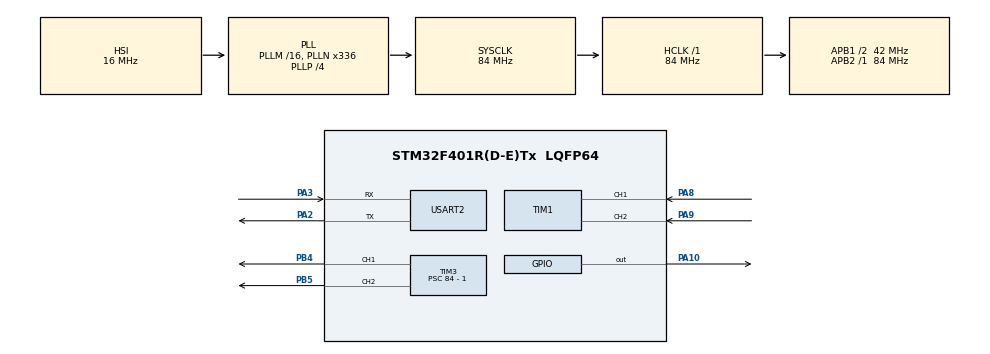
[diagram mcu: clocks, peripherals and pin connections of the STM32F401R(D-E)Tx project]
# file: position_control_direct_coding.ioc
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Mcu.Family=STM32F4
Mcu.Name=STM32F401R(D-E)Tx
Mcu.Package=LQFP64
NVIC.PriorityGroup=NVIC_PRIORITYGROUP_4
NVIC.TIM4_IRQn=true\:0\:0\:false\:false\:true\:true\:true\:true
PA10.Signal=GPIO_Output
PA2.Mode=Asynchronous
PA2.Signal=USART2_TX
PA3.Mode=Asynchronous
PA3.Signal=USART2_RX
PA8.Signal=S_TIM1_CH1
PA9.Signal=S_TIM1_CH2
PB4.Signal=S_TIM3_CH1
PB5.Signal=S_TIM3_CH2
ProjectManager.HeapSize=0x200
ProjectManager.StackSize=0x400
ProjectManager.TargetToolchain=STM32CubeIDE
RCC.48MHZClocksFreq_Value=84000000
RCC.AHBFreq_Value=84000000
RCC.APB1CLKDivider=RCC_HCLK_DIV2
RCC.APB1Freq_Value=42000000
RCC.APB1TimFreq_Value=84000000
RCC.APB2Freq_Value=84000000
RCC.APB2TimFreq_Value=84000000
RCC.CortexFreq_Value=84000000
RCC.HCLKFreq_Value=84000000
RCC.HSE_VALUE=25000000
RCC.HSI_VALUE=16000000
RCC.LSE_VALUE=32768
RCC.PLLN=336
RCC.PLLP=RCC_PLLP_DIV4
RCC.SYSCLKFreq_VALUE=84000000
RCC.SYSCLKSource=RCC_SYSCLKSOURCE_PLLCLK
RCC.VCOOutputFreq_Value=336000000
SH.S_TIM1_CH1.0=TIM1_CH1,Encoder_Interface
SH.S_TIM1_CH2.0=TIM1_CH2,Encoder_Interface
SH.S_TIM3_CH1.0=TIM3_CH1,PWM Generation1 CH1
SH.S_TIM3_CH2.0=TIM3_CH2,PWM Generation2 CH2
TIM1.EncoderMode=TIM_ENCODERMODE_TI12
TIM3.AutoReloadPreload=TIM_AUTORELOAD_PRELOAD_ENABLE
TIM3.Channel-PWM\ Generation1\ CH1=TIM_CHANNEL_1
TIM3.Channel-PWM\ Generation2\ CH2=TIM_CHANNEL_2
TIM3.Period=500 - 1
TIM3.Prescaler=84 - 1
TIM4.Period=5000 - 1
TIM4.Prescaler=84 - 1
USART2.VirtualMode=VM_ASYNC
VP_TIM3_VS_ClockSourceINT.Mode=Internal
VP_TIM4_VS_ClockSourceINT.Mode=Internal
board=custom

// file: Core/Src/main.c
/* USER CODE BEGIN Header */
/**
 ******************************************************************************
 * @file           : main.c
 * @brief          : Main program body
 ******************************************************************************
 * @attention
 *
 * <h2><center>&copy; Copyright (c) 2021 STMicroelectronics.
 * All rights reserved.</center></h2>
 *
 * This software component is licensed by ST under BSD 3-Clause license,
 * the "License"; You may not use this file except in compliance with the
 * License. You may obtain a copy of the License at:
 *                        opensource.org/licenses/BSD-3-Clause
 *
 ******************************************************************************
 */
/* USER CODE END Header */
#include "main.h"

/* USER CODE BEGIN Includes */
#include "stdio.h"
#include "stdlib.h"
#include "stdbool.h"
#include "math.h"
#include "string.h"
#include  <errno.h>
#include  <sys/unistd.h> // STDOUT_FILENO, STDERR_FILENO
/* USER CODE END Includes */

/* USER CODE BEGIN PD */
#define WAITING 3 // the number of seconds to wait from one reference change to the next. It also coincides with the number of seconds between one USART send and the next
/* USER CODE END PD */

TIM_HandleTypeDef htim1;
TIM_HandleTypeDef htim3;
TIM_HandleTypeDef htim4;

UART_HandleTypeDef huart2;

void SystemClock_Config(void);
static void MX_GPIO_Init(void);
static void MX_USART2_UART_Init(void);
static void MX_TIM3_Init(void);
static void MX_TIM1_Init(void);
static void MX_TIM4_Init(void);

/* USER CODE BEGIN 0 */
/* BEGIN CIRCULAR DATA BUFFER */
typedef struct circular_buffer {
	void *buffer;     // data buffer
	void *buffer_end; // end of data buffer
	size_t capacity;  // maximum number of items in the buffer
	size_t count;     // number of items in the buffer
	size_t sz;        // size of each item in the buffer
	void *head;       // pointer to head
	void *tail;       // pointer to tail
	bool writing;  // signals if the buffer is being written
} circular_buffer;

void cb_init(circular_buffer *cb, size_t capacity, size_t sz) {
	cb->buffer = calloc(capacity, sz);
	if (cb->buffer == NULL)
		printf("ALLOCATED NULL\n\r");
	// handle error
	cb->buffer_end = (char*) cb->buffer + capacity * sz;
	cb->capacity = capacity;
	cb->count = 0;
	cb->sz = sz;
	cb->head = cb->buffer;
	cb->tail = cb->buffer;
	cb->writing = false;

}

void cb_free(circular_buffer *cb) {
	free(cb->buffer);
	// clear out other fields too, just to be safe
}

void cb_push_back(circular_buffer *cb, const void *item) {
	if (cb->count == cb->capacity) {
		printf("ERROR PUSH BACK \n\r");
		// handle error
	}
	cb->writing = true;
	memmove(cb->head, item, cb->sz);
	cb->head = (char*) cb->head + cb->sz;
	if (cb->head == cb->buffer_end)
		cb->head = cb->buffer;
	cb->count++;
	cb->writing = false;
}

void cb_pop_front(circular_buffer *cb, void *item) {
	if (cb->count == 0) {
		printf("ERROR PUSH BACK \n\r");
		// handle error
	}
	memmove(item, cb->tail, cb->sz);
	cb->tail = (char*) cb->tail + cb->sz;
	if (cb->tail == cb->buffer_end)
		cb->tail = cb->buffer;
	while ((cb->writing))
		;
	cb->count--;
}

circular_buffer myBuff;

/* BEGIN RECORD TYPEDEF*/
typedef struct record {
	double current_pos;
	double current_u; // value of the current controller output
	double current_vel; // value of the current motor output (speed)
	double current_error;
	double current_ref;
	uint32_t cycleCoreDuration; // time needed to read, compute and actuate
	uint32_t cycleBeginDelay; // difference between the actual and the expected absolute start time of the cycle
	uint32_t currentTimestamp; // current timestamp in millis
} record;

/* BEGIN USART WRITE FUNCTION (used by printf)*/
int _write(int file, char *data, int len) {
	if ((file != STDOUT_FILENO) && (file != STDERR_FILENO)) {
		errno = EBADF;
		return -1;
	}

	// arbitrary timeout 1000
	HAL_StatusTypeDef status = HAL_UART_Transmit(&huart2, (uint8_t*) data, len,
			1000);

	// return # of bytes written - as best we can tell
	return (status == HAL_OK ? len : 0);
}

void setPulseFromDutyValue(double dutyVal) {
	HAL_GPIO_WritePin(GPIOA, GPIO_PIN_10, GPIO_PIN_SET); // enable the motor driver

	uint16_t channelToModulate;
	uint16_t channelToStop;

	if (dutyVal > 0) {
		channelToModulate = TIM_CHANNEL_1;
		channelToStop = TIM_CHANNEL_2;
	} else {
		channelToModulate = TIM_CHANNEL_2;
		channelToStop = TIM_CHANNEL_1;
	}

	__HAL_TIM_SET_COMPARE(&htim3, channelToStop, 0);
	__HAL_TIM_SET_COMPARE(&htim3, channelToModulate,
			(abs(dutyVal) * ((double )htim3.Init.Period)) / 100); //cast integer value to double to correctly perform division between decimal numbers
}

double getSpeedByDelta(double ticksDelta, double Ts) {
	return ticksDelta * 60 / (8400 * Ts);
}

double getTicksDelta(double currentTicks, double lastTicks, double Ts) {
	double delta;

	if (abs(currentTicks - lastTicks) <= ceil(12600 * Ts))
		delta = currentTicks - lastTicks;
	else {
		if (lastTicks > currentTicks)
			delta = currentTicks + pow(2, 16) - 1 - lastTicks;
		else
			delta = currentTicks - pow(2, 16) + 1 - lastTicks;
	}
	return delta;
}

int sign(double x) {

    if (x > 0) {
        return 1;
    } else if (x < 0) {
        return -1;
    } else {
        return 0;
    }

}

double getPosition(double delta, double *ticks_star){

	double ticks_star_old = *ticks_star;
	*ticks_star = ticks_star_old + delta;
	double completeTheta = 2*M_PI*(*ticks_star)/(8400);
	double position = completeTheta;

	return position;

}

double getErrorPos(double currentError) {

    double error = currentError;

    if (currentError > M_PI) {
        error = currentError - 2 * M_PI;
    } else if (currentError < -M_PI) {
        error = currentError + 2 * M_PI;
    }

    return error;

}

double getRef(double y, double real_ref){

	double real_ref_mod = fmod(real_ref,2*M_PI);
	double y_mod = fmod(y, 2*M_PI);

	double fixed_part = trunc((y-0.02) / (2 * M_PI)) *2*M_PI;

	double a = real_ref + 2*M_PI;
	double b = y_mod + 2* M_PI;

	double c, ab, bc, sign_part, r;

	if (real_ref_mod > 0)
		c = -(2*M_PI - real_ref_mod) + 2*M_PI;
	else
		c = 2*M_PI + real_ref_mod + 2*M_PI;

	if (a > b)
		ab = fabs(a-b);
	else
		ab = fabs(b-a);

	if (c > b)
		bc = fabs(c-b);
	else
		bc = fabs(b-c);

	if (ab > bc)
		if (real_ref_mod >= 0)
			sign_part = - (2*M_PI - real_ref_mod);
		else
			sign_part = 2*M_PI + real_ref_mod;
	else
		sign_part = real_ref_mod;

	r = fixed_part + sign_part;

	return r;

}

int cycleduration;
double lastTicks = 0;
double currentTicks = 0;
uint32_t ticControlStep;
uint32_t tocControlStep;
uint32_t controlComputationDuration;
double Ts = 0.005;
double referenceVals[8] = { 0.0, M_PI/4, M_PI/2, M_PI, 3/2*M_PI, 2 *M_PI, -M_PI, M_PI };
double referenceVal;
uint32_t k_controller = -1;
int samplingPrescaler = 2;
int samplingPrescalerCounter = 0;
double ticks_star = 0;
double pos_prev = 0;
double vel_prev = 0;
double s = 0;
double s_prev = 0;
double u  = 0;
double u_prev  = 0;
double delta_u = 0;
double k_vel = (4.2832);
double k_pos =(55.8484);
double k_integral=(-187.0829);
double delta_s = 0;
double delta_vel  = 0;
double delta_pos = 0;
double e=0;
double e_prev=0;
/* USER CODE END 0 */

int main(void) {
	/* MCU Configuration--------------------------------------------------------*/

	/* Reset of all peripherals, Initializes the Flash interface and the Systick. */
	HAL_Init();

	/* USER CODE BEGIN Init */
	//size_t bufferSize = (size_t)ceil(2 * WAITING / (Ts * samplingPrescaler));
	size_t bufferSize = 1000;
	cb_init(&myBuff, bufferSize, sizeof(record));

	/* USER CODE END Init */

	/* Configure the system clock */
	SystemClock_Config();

	/* Initialize all configured peripherals */
	MX_GPIO_Init();
	MX_USART2_UART_Init();
	MX_TIM3_Init();
	MX_TIM1_Init();
	MX_TIM4_Init();
	/* USER CODE BEGIN 2 */
	HAL_TIM_PWM_Start(&htim3, TIM_CHANNEL_1);
	HAL_TIM_PWM_Start(&htim3, TIM_CHANNEL_2);
	HAL_TIM_Base_Start(&htim1);
	HAL_TIM_Base_Start_IT(&htim4);
	/* USER CODE END 2 */

	/* Infinite loop */
	/* USER CODE BEGIN WHILE */
	int referenceIndex = 0;

	referenceVal = referenceVals[referenceIndex];
	printf("INIT\n\r"); // initialize the Matlab tool for COM data acquiring

	while (1) {
		size_t nEntriesToSend = myBuff.count; //number of samples not read yet
		record retrieved; //buffer entry

		for (size_t count = 0; count < nEntriesToSend; count++) {
			cb_pop_front(&myBuff, &retrieved); //take entry from the buffer
			printf("%lu, %f, %f, %f, %f, %f, %lu, %lu\n\r",
					retrieved.currentTimestamp,

					retrieved.current_pos,
					retrieved.current_u,
					retrieved.current_vel,
					retrieved.current_error,
					retrieved.current_ref,

					retrieved.cycleBeginDelay,
					retrieved.cycleCoreDuration); // send values via USART using format: value1, value2, value3, ... valuen \n \r
		}
		referenceVal = referenceVals[referenceIndex];
		referenceIndex = referenceIndex + 1;
		HAL_Delay(WAITING*1000); // takes a time value in ms
		if (referenceIndex > 7)
			referenceIndex = 0;

		/* USER CODE END WHILE */

	}
}

void SystemClock_Config(void) {
	RCC_OscInitTypeDef RCC_OscInitStruct = { 0 };
	RCC_ClkInitTypeDef RCC_ClkInitStruct = { 0 };

	/** Configure the main internal regulator output voltage
	 */
	__HAL_RCC_PWR_CLK_ENABLE();
	__HAL_PWR_VOLTAGESCALING_CONFIG(PWR_REGULATOR_VOLTAGE_SCALE2);
	/** Initializes the RCC Oscillators according to the specified parameters
	 * in the RCC_OscInitTypeDef structure.
	 */
	RCC_OscInitStruct.OscillatorType = RCC_OSCILLATORTYPE_HSI;
	RCC_OscInitStruct.HSIState = RCC_HSI_ON;
	RCC_OscInitStruct.HSICalibrationValue = RCC_HSICALIBRATION_DEFAULT;
	RCC_OscInitStruct.PLL.PLLState = RCC_PLL_ON;
	RCC_OscInitStruct.PLL.PLLSource = RCC_PLLSOURCE_HSI;
	RCC_OscInitStruct.PLL.PLLM = 16;
	RCC_OscInitStruct.PLL.PLLN = 336;
	RCC_OscInitStruct.PLL.PLLP = RCC_PLLP_DIV4;
	RCC_OscInitStruct.PLL.PLLQ = 4;
	if (HAL_RCC_OscConfig(&RCC_OscInitStruct) != HAL_OK) {
		Error_Handler();
	}
	/** Initializes the CPU, AHB and APB buses clocks
	 */
	RCC_ClkInitStruct.ClockType = RCC_CLOCKTYPE_HCLK | RCC_CLOCKTYPE_SYSCLK
			| RCC_CLOCKTYPE_PCLK1 | RCC_CLOCKTYPE_PCLK2;
	RCC_ClkInitStruct.SYSCLKSource = RCC_SYSCLKSOURCE_PLLCLK;
	RCC_ClkInitStruct.AHBCLKDivider = RCC_SYSCLK_DIV1;
	RCC_ClkInitStruct.APB1CLKDivider = RCC_HCLK_DIV2;
	RCC_ClkInitStruct.APB2CLKDivider = RCC_HCLK_DIV1;

	if (HAL_RCC_ClockConfig(&RCC_ClkInitStruct, FLASH_LATENCY_2) != HAL_OK) {
		Error_Handler();
	}
}

static void MX_TIM1_Init(void) {

	TIM_Encoder_InitTypeDef sConfig = { 0 };
	TIM_MasterConfigTypeDef sMasterConfig = { 0 };

	htim1.Instance = TIM1;
	htim1.Init.Prescaler = 0;
	htim1.Init.CounterMode = TIM_COUNTERMODE_UP;
	htim1.Init.Period = 65535;
	htim1.Init.ClockDivision = TIM_CLOCKDIVISION_DIV1;
	htim1.Init.RepetitionCounter = 0;
	htim1.Init.AutoReloadPreload = TIM_AUTORELOAD_PRELOAD_DISABLE;
	sConfig.EncoderMode = TIM_ENCODERMODE_TI12;
	sConfig.IC1Polarity = TIM_ICPOLARITY_RISING;
	sConfig.IC1Selection = TIM_ICSELECTION_DIRECTTI;
	sConfig.IC1Prescaler = TIM_ICPSC_DIV1;
	sConfig.IC1Filter = 0;
	sConfig.IC2Polarity = TIM_ICPOLARITY_RISING;
	sConfig.IC2Selection = TIM_ICSELECTION_DIRECTTI;
	sConfig.IC2Prescaler = TIM_ICPSC_DIV1;
	sConfig.IC2Filter = 0;
	if (HAL_TIM_Encoder_Init(&htim1, &sConfig) != HAL_OK) {
		Error_Handler();
	}
	sMasterConfig.MasterOutputTrigger = TIM_TRGO_RESET;
	sMasterConfig.MasterSlaveMode = TIM_MASTERSLAVEMODE_DISABLE;
	if (HAL_TIMEx_MasterConfigSynchronization(&htim1, &sMasterConfig)
			!= HAL_OK) {
		Error_Handler();
	}

}

static void MX_TIM3_Init(void) {

	TIM_ClockConfigTypeDef sClockSourceConfig = { 0 };
	TIM_MasterConfigTypeDef sMasterConfig = { 0 };
	TIM_OC_InitTypeDef sConfigOC = { 0 };

	htim3.Instance = TIM3;
	htim3.Init.Prescaler = 84 - 1;
	htim3.Init.CounterMode = TIM_COUNTERMODE_UP;
	htim3.Init.Period = 500 - 1;
	htim3.Init.ClockDivision = TIM_CLOCKDIVISION_DIV1;
	htim3.Init.AutoReloadPreload = TIM_AUTORELOAD_PRELOAD_ENABLE;
	if (HAL_TIM_Base_Init(&htim3) != HAL_OK) {
		Error_Handler();
	}
	sClockSourceConfig.ClockSource = TIM_CLOCKSOURCE_INTERNAL;
	if (HAL_TIM_ConfigClockSource(&htim3, &sClockSourceConfig) != HAL_OK) {
		Error_Handler();
	}
	if (HAL_TIM_PWM_Init(&htim3) != HAL_OK) {
		Error_Handler();
	}
	sMasterConfig.MasterOutputTrigger = TIM_TRGO_RESET;
	sMasterConfig.MasterSlaveMode = TIM_MASTERSLAVEMODE_DISABLE;
	if (HAL_TIMEx_MasterConfigSynchronization(&htim3, &sMasterConfig)
			!= HAL_OK) {
		Error_Handler();
	}
	sConfigOC.OCMode = TIM_OCMODE_PWM1;
	sConfigOC.Pulse = 0;
	sConfigOC.OCPolarity = TIM_OCPOLARITY_HIGH;
	sConfigOC.OCFastMode = TIM_OCFAST_DISABLE;
	if (HAL_TIM_PWM_ConfigChannel(&htim3, &sConfigOC, TIM_CHANNEL_1)
			!= HAL_OK) {
		Error_Handler();
	}
	if (HAL_TIM_PWM_ConfigChannel(&htim3, &sConfigOC, TIM_CHANNEL_2)
			!= HAL_OK) {
		Error_Handler();
	}
	HAL_TIM_MspPostInit(&htim3);

}

static void MX_TIM4_Init(void) {

	TIM_ClockConfigTypeDef sClockSourceConfig = { 0 };
	TIM_MasterConfigTypeDef sMasterConfig = { 0 };

	htim4.Instance = TIM4;
	htim4.Init.Prescaler = 84 - 1;
	htim4.Init.CounterMode = TIM_COUNTERMODE_UP;
	htim4.Init.Period = 5000 - 1;
	htim4.Init.ClockDivision = TIM_CLOCKDIVISION_DIV1;
	htim4.Init.AutoReloadPreload = TIM_AUTORELOAD_PRELOAD_DISABLE;
	if (HAL_TIM_Base_Init(&htim4) != HAL_OK) {
		Error_Handler();
	}
	sClockSourceConfig.ClockSource = TIM_CLOCKSOURCE_INTERNAL;
	if (HAL_TIM_ConfigClockSource(&htim4, &sClockSourceConfig) != HAL_OK) {
		Error_Handler();
	}
	sMasterConfig.MasterOutputTrigger = TIM_TRGO_RESET;
	sMasterConfig.MasterSlaveMode = TIM_MASTERSLAVEMODE_DISABLE;
	if (HAL_TIMEx_MasterConfigSynchronization(&htim4, &sMasterConfig)
			!= HAL_OK) {
		Error_Handler();
	}

}

static void MX_USART2_UART_Init(void) {

	huart2.Instance = USART2;
	huart2.Init.BaudRate = 115200;
	huart2.Init.WordLength = UART_WORDLENGTH_8B;
	huart2.Init.StopBits = UART_STOPBITS_1;
	huart2.Init.Parity = UART_PARITY_NONE;
	huart2.Init.Mode = UART_MODE_TX_RX;
	huart2.Init.HwFlowCtl = UART_HWCONTROL_NONE;
	huart2.Init.OverSampling = UART_OVERSAMPLING_16;
	if (HAL_UART_Init(&huart2) != HAL_OK) {
		Error_Handler();
	}

}

static void MX_GPIO_Init(void) {
	GPIO_InitTypeDef GPIO_InitStruct = { 0 };

	/* GPIO Ports Clock Enable */
	__HAL_RCC_GPIOA_CLK_ENABLE();
	__HAL_RCC_GPIOB_CLK_ENABLE();

	/*Configure GPIO pin Output Level */
	HAL_GPIO_WritePin(GPIOA, GPIO_PIN_10, GPIO_PIN_RESET);

	/*Configure GPIO pin : PA10 */
	GPIO_InitStruct.Pin = GPIO_PIN_10;
	GPIO_InitStruct.Mode = GPIO_MODE_OUTPUT_PP;
	GPIO_InitStruct.Pull = GPIO_NOPULL;
	GPIO_InitStruct.Speed = GPIO_SPEED_FREQ_LOW;
	HAL_GPIO_Init(GPIOA, &GPIO_InitStruct);

}

/* USER CODE BEGIN 4 */
void HAL_TIM_PeriodElapsedCallback(TIM_HandleTypeDef *htim) {
	if (htim == &htim4) {
		k_controller = k_controller + 1;
		if (k_controller == 0) {
			ticControlStep = HAL_GetTick();
		}
		tocControlStep = HAL_GetTick();

		currentTicks = (double) __HAL_TIM_GET_COUNTER(&htim1); //take current value of ticks counting the encoder edges

		double speed = getSpeedByDelta(
				getTicksDelta(currentTicks, lastTicks, Ts), Ts) /9.54929;

		double position = getPosition(
				getTicksDelta(currentTicks, lastTicks, Ts),&ticks_star);

		//double  reference = getRef(position, referenceVal);
		double  reference =  referenceVal;

		e =  reference - position;

		s= s_prev + 0.0025 * e + 0.0025 * e_prev;
		double a;
		double b;

		delta_pos=position-pos_prev;
		delta_vel=speed-vel_prev;
		delta_s=s-s_prev;

		a=(-k_vel * delta_vel) + (-k_pos* delta_pos);

		b= delta_s * -k_integral;
		delta_u=a+b;

		u=u_prev+delta_u;
		if (u > 12){
			u=12;
		}
		if (u < -12 ){
			u=-12;
		}

			//double u_integral = u_integral_last -0.06124 * e - 0.06124 * e_last;
			//double u1 = k_vel*speed + k_pos*position;
			//double u = (u_integral + u1);

		setPulseFromDutyValue(u*100/12);

		s_prev=s;
		pos_prev=position;
		vel_prev=speed;
		u_prev=u;
		e_prev=e;

		controlComputationDuration = HAL_GetTick() - tocControlStep;
		lastTicks = currentTicks;

		// recording data in the buffer
		record r;
		r.current_u = u;
		r.current_pos = position;
		r.current_vel = speed;
		r.current_error = e;
		r.current_ref = reference;
		r.cycleCoreDuration = controlComputationDuration;
		r.cycleBeginDelay = tocControlStep - ticControlStep
				- (k_controller * Ts * 1000);
		r.currentTimestamp = HAL_GetTick();
		if (samplingPrescalerCounter == (samplingPrescaler - 1)) {
			cb_push_back(&myBuff, &r);
			samplingPrescalerCounter = -1;
		}
		samplingPrescalerCounter++;
	}
}
/* USER CODE END 4 */

void Error_Handler(void) {
	__disable_irq();
	while (1) {
	}
}

/************************ (C) COPYRIGHT STMicroelectronics *****END OF FILE****/
